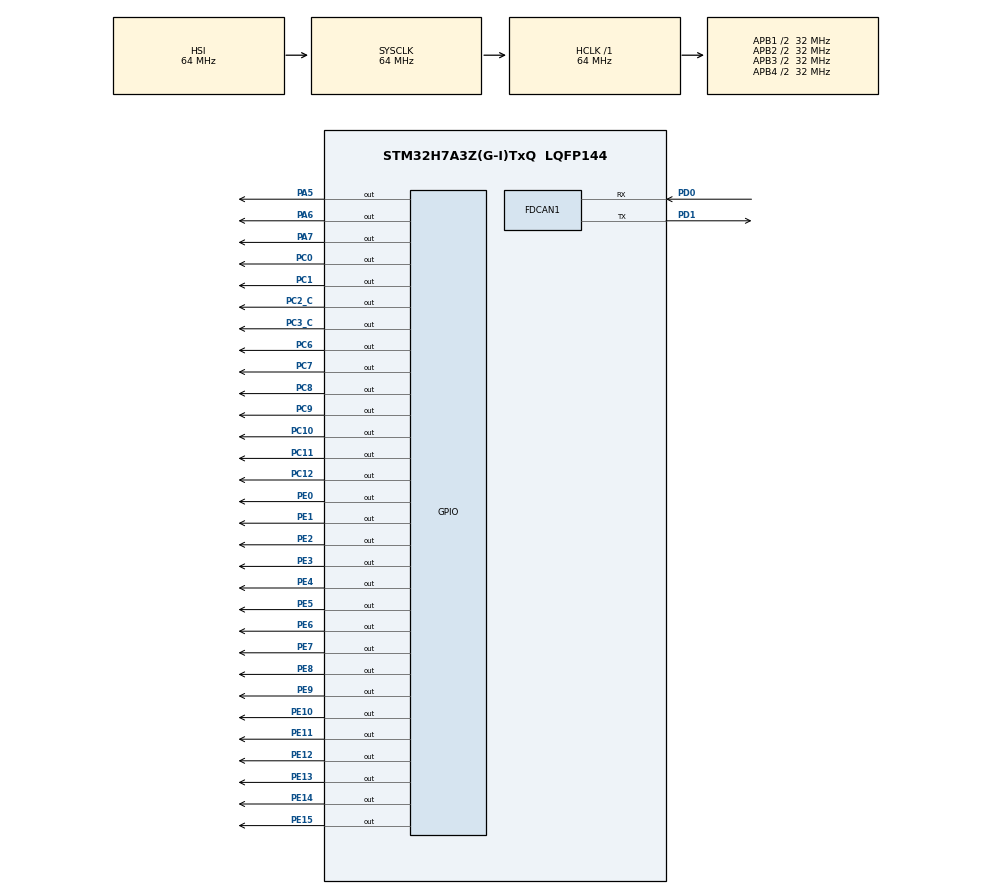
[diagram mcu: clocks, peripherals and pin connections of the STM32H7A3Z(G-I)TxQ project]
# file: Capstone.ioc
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FDCAN1.AutoRetransmission=ENABLE
FDCAN1.DataSyncJumpWidth=4
FDCAN1.DataTimeSeg1=5
FDCAN1.DataTimeSeg2=4
FDCAN1.FrameFormat=FDCAN_FRAME_FD_NO_BRS
FDCAN1.NominalTimeSeg1=5
FDCAN1.RxBuffersNbr=1
FDCAN1.RxFifo0ElmtsNbr=1
FDCAN1.StdFiltersNbr=1
FREERTOS.Tasks01=defaultTask,24,128,StartDefaultTask,Default,NULL,Dynamic,NULL,NULL;myTask02,8,128,StartTask02,Default,NULL,Dynamic,NULL,NULL;myTask03,8,128,StartTask03,Default,NULL,Dynamic,NULL,NULL
FREERTOS.configTOTAL_HEAP_SIZE=153600
FREERTOS.configUSE_NEWLIB_REENTRANT=1
Mcu.Family=STM32H7
Mcu.Name=STM32H7A3Z(G-I)TxQ
Mcu.Package=LQFP144
NVIC.PriorityGroup=NVIC_PRIORITYGROUP_4
NVIC.TIM4_IRQn=true\:15\:0\:false\:false\:true\:false\:false\:true
NVIC.TimeBase=TIM4_IRQn
NVIC.TimeBaseIP=TIM4
PA5.Signal=GPIO_Output
PA6.Signal=GPIO_Output
PA7.Signal=GPIO_Output
PC0.Signal=GPIO_Output
PC1.Signal=GPIO_Output
PC10.Signal=GPIO_Output
PC11.Signal=GPIO_Output
PC12.Signal=GPIO_Output
PC2_C.Signal=GPIO_Output
PC3_C.Signal=GPIO_Output
PC6.Signal=GPIO_Output
PC7.Signal=GPIO_Output
PC8.Signal=GPIO_Output
PC9.Signal=GPIO_Output
PD0.Mode=FDCAN_Activate
PD0.Signal=FDCAN1_RX
PD1.Mode=FDCAN_Activate
PD1.Signal=FDCAN1_TX
PE0.Signal=GPIO_Output
PE1.Signal=GPIO_Output
PE10.Signal=GPIO_Output
PE11.Signal=GPIO_Output
PE12.Signal=GPIO_Output
PE13.Signal=GPIO_Output
PE14.Signal=GPIO_Output
PE15.Signal=GPIO_Output
PE2.Signal=GPIO_Output
PE3.Signal=GPIO_Output
PE4.Signal=GPIO_Output
PE5.Signal=GPIO_Output
PE6.Signal=GPIO_Output
PE7.Signal=GPIO_Output
PE8.Signal=GPIO_Output
PE9.Signal=GPIO_Output
PH0-OSC_IN.Mode=HSE-External-Oscillator
PH0-OSC_IN.Signal=RCC_OSC_IN
PH1-OSC_OUT.Mode=HSE-External-Oscillator
PH1-OSC_OUT.Signal=RCC_OSC_OUT
ProjectManager.HeapSize=0x200
ProjectManager.StackSize=0x400
ProjectManager.TargetToolchain=STM32CubeIDE
RCC.ADCFreq_Value=129000000
RCC.APB1Freq_Value=32000000
RCC.APB2Freq_Value=32000000
RCC.APB3Freq_Value=32000000
RCC.APB4Freq_Value=32000000
RCC.CDPPRE=RCC_APB3_DIV2
RCC.CDPPRE1=RCC_APB1_DIV2
RCC.CDPPRE2=RCC_APB2_DIV2
RCC.CortexFreq_Value=64000000
RCC.DIVM1=4
RCC.DIVN1=8
RCC.DIVQ1=32
RCC.HCLKFreq_Value=64000000
RCC.PLLFRACN=0
RCC.SRDPPRE=RCC_APB4_DIV2
RCC.SYSCLKFreq_VALUE=64000000
RCC.USBFreq_Value=4000000
VP_FREERTOS_VS_CMSIS_V2.Mode=CMSIS_V2
VP_SYS_VS_tim4.Mode=TIM4
board=custom

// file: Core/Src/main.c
/* USER CODE BEGIN Header */
/**
  ******************************************************************************
  * @file           : main.c
  * @brief          : Main program body
  ******************************************************************************
  * @attention
  *
  * Copyright (c) 2023 STMicroelectronics.
  * All rights reserved.
  *
  * This software is licensed under terms that can be found in the LICENSE file
  * in the root directory of this software component.
  * If no LICENSE file comes with this software, it is provided AS-IS.
  *
  ******************************************************************************
  */
/* USER CODE END Header */
#include "main.h"
#include "cmsis_os.h"
#include "fdcan.h"
#include "gpio.h"

/* USER CODE BEGIN Includes */
#include "_7_seg.h"
#include <stdio.h>
/* USER CODE END Includes */

/* USER CODE BEGIN PV */
FDCAN_FilterTypeDef sFilterConfig;
/* USER CODE END PV */

void SystemClock_Config(void);
void MX_FREERTOS_Init(void);

/* USER CODE BEGIN 0 */
// FDCAN1 Defines
FDCAN_TxHeaderTypeDef   TxHeader1;
FDCAN_RxHeaderTypeDef   RxHeader1;

uint8_t TxData_Node2_To_Node3[8];
uint8_t RxData_From_Node3[8];

// FDCAN1 Callback
void HAL_FDCAN_RxFifo0Callback(FDCAN_HandleTypeDef *hfdcan, uint32_t RxFifo0ITs)
{
  if((RxFifo0ITs & FDCAN_IT_RX_FIFO0_NEW_MESSAGE) != RESET)
  {
    /* Retreive Rx messages from RX FIFO0 */
    if (HAL_FDCAN_GetRxMessage(hfdcan, FDCAN_RX_FIFO0, &RxHeader1, RxData_From_Node3) != HAL_OK)
    {
    /* Reception Error */
    Error_Handler();
    }

    if (HAL_FDCAN_ActivateNotification(hfdcan, FDCAN_IT_RX_FIFO0_NEW_MESSAGE, 0) != HAL_OK)
    {
      /* Notification Error */
      Error_Handler();
    }
  }
}
/* USER CODE END 0 */

int main(void)
{

  /* MCU Configuration--------------------------------------------------------*/

  /* Reset of all peripherals, Initializes the Flash interface and the Systick. */
  HAL_Init();

  /* Configure the system clock */
  SystemClock_Config();

  /* Initialize all configured peripherals */
  MX_GPIO_Init();
  MX_FDCAN1_Init();
  /* USER CODE BEGIN 2 */

  // STart FDCAN1
    if(HAL_FDCAN_Start(&hfdcan1)!= HAL_OK)
    {
     Error_Handler();
    }

    // STart FDCAN2

    // Activate the notification for new data in FIFO0 for FDCAN1
    if (HAL_FDCAN_ActivateNotification(&hfdcan1, FDCAN_IT_RX_FIFO0_NEW_MESSAGE, 0) != HAL_OK)
    {
      /* Notification Error */
      Error_Handler();
    }

    // Configure TX Header for FDCAN1
    TxHeader1.Identifier = 0x22;
    TxHeader1.IdType = FDCAN_STANDARD_ID;
    TxHeader1.TxFrameType = FDCAN_DATA_FRAME;
    TxHeader1.DataLength = FDCAN_DLC_BYTES_8;
    TxHeader1.ErrorStateIndicator = FDCAN_ESI_ACTIVE;
    TxHeader1.BitRateSwitch = FDCAN_BRS_OFF;
    TxHeader1.FDFormat = FDCAN_FD_CAN;
    TxHeader1.TxEventFifoControl = FDCAN_NO_TX_EVENTS;
    TxHeader1.MessageMarker = 0;
  /* USER CODE END 2 */

  /* Init scheduler */
  osKernelInitialize();  /* Call init function for freertos objects (in freertos.c) */
  MX_FREERTOS_Init();
  /* Start scheduler */
  osKernelStart();

  /* We should never get here as control is now taken by the scheduler */
  /* Infinite loop */
  while (1)
  {

  }
}

void SystemClock_Config(void)
{
  RCC_OscInitTypeDef RCC_OscInitStruct = {0};
  RCC_ClkInitTypeDef RCC_ClkInitStruct = {0};

  /** Supply configuration update enable
  */
  HAL_PWREx_ConfigSupply(PWR_DIRECT_SMPS_SUPPLY);
  /** Configure the main internal regulator output voltage
  */
  __HAL_PWR_VOLTAGESCALING_CONFIG(PWR_REGULATOR_VOLTAGE_SCALE3);

  while(!__HAL_PWR_GET_FLAG(PWR_FLAG_VOSRDY)) {}
  /** Initializes the RCC Oscillators according to the specified parameters
  * in the RCC_OscInitTypeDef structure.
  */
  RCC_OscInitStruct.OscillatorType = RCC_OSCILLATORTYPE_HSI;
  RCC_OscInitStruct.HSIState = RCC_HSI_DIV1;
  RCC_OscInitStruct.HSICalibrationValue = RCC_HSICALIBRATION_DEFAULT;
  RCC_OscInitStruct.PLL.PLLState = RCC_PLL_ON;
  RCC_OscInitStruct.PLL.PLLSource = RCC_PLLSOURCE_HSI;
  RCC_OscInitStruct.PLL.PLLM = 4;
  RCC_OscInitStruct.PLL.PLLN = 8;
  RCC_OscInitStruct.PLL.PLLP = 2;
  RCC_OscInitStruct.PLL.PLLQ = 32;
  RCC_OscInitStruct.PLL.PLLR = 2;
  RCC_OscInitStruct.PLL.PLLRGE = RCC_PLL1VCIRANGE_3;
  RCC_OscInitStruct.PLL.PLLVCOSEL = RCC_PLL1VCOWIDE;
  RCC_OscInitStruct.PLL.PLLFRACN = 0;
  if (HAL_RCC_OscConfig(&RCC_OscInitStruct) != HAL_OK)
  {
    Error_Handler();
  }
  /** Initializes the CPU, AHB and APB buses clocks
  */
  RCC_ClkInitStruct.ClockType = RCC_CLOCKTYPE_HCLK|RCC_CLOCKTYPE_SYSCLK
                              |RCC_CLOCKTYPE_PCLK1|RCC_CLOCKTYPE_PCLK2
                              |RCC_CLOCKTYPE_D3PCLK1|RCC_CLOCKTYPE_D1PCLK1;
  RCC_ClkInitStruct.SYSCLKSource = RCC_SYSCLKSOURCE_HSI;
  RCC_ClkInitStruct.SYSCLKDivider = RCC_SYSCLK_DIV1;
  RCC_ClkInitStruct.AHBCLKDivider = RCC_HCLK_DIV1;
  RCC_ClkInitStruct.APB3CLKDivider = RCC_APB3_DIV2;
  RCC_ClkInitStruct.APB1CLKDivider = RCC_APB1_DIV2;
  RCC_ClkInitStruct.APB2CLKDivider = RCC_APB2_DIV2;
  RCC_ClkInitStruct.APB4CLKDivider = RCC_APB4_DIV2;

  if (HAL_RCC_ClockConfig(&RCC_ClkInitStruct, FLASH_LATENCY_2) != HAL_OK)
  {
    Error_Handler();
  }
}

void HAL_TIM_PeriodElapsedCallback(TIM_HandleTypeDef *htim)
{
  if (htim->Instance == TIM4) {
    HAL_IncTick();
  }
}

void Error_Handler(void)
{
  __disable_irq();
  while (1)
  {
  }
}

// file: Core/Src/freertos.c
/* USER CODE BEGIN Header */
/**
  ******************************************************************************
  * File Name          : freertos.c
  * Description        : Code for freertos applications
  ******************************************************************************
  * @attention
  *
  * Copyright (c) 2023 STMicroelectronics.
  * All rights reserved.
  *
  * This software is licensed under terms that can be found in the LICENSE file
  * in the root directory of this software component.
  * If no LICENSE file comes with this software, it is provided AS-IS.
  *
  ******************************************************************************
  */
/* USER CODE END Header */

#include "FreeRTOS.h"
#include "task.h"
#include "main.h"
#include "cmsis_os.h"

/* USER CODE BEGIN Includes */
#include "_7_seg.h"
#include <stdio.h>
#include "fdcan.h"
/* USER CODE END Includes */

/* USER CODE BEGIN PD */
//FDCAN_TxHeaderTypeDef   TxHeader1;
//FDCAN_RxHeaderTypeDef   RxHeader1;
//
//uint8_t TxData_Node2_To_Node3[8];
//uint8_t RxData_From_Node3[8];
/* USER CODE END PD */

/* Definitions for defaultTask */
osThreadId_t defaultTaskHandle;
const osThreadAttr_t defaultTask_attributes = {
  .name = "defaultTask",
  .stack_size = 128 * 4,
  .priority = (osPriority_t) osPriorityNormal,
};
/* Definitions for myTask02 */
osThreadId_t myTask02Handle;
const osThreadAttr_t myTask02_attributes = {
  .name = "myTask02",
  .stack_size = 128 * 4,
  .priority = (osPriority_t) osPriorityLow,
};
/* Definitions for myTask03 */
osThreadId_t myTask03Handle;
const osThreadAttr_t myTask03_attributes = {
  .name = "myTask03",
  .stack_size = 128 * 4,
  .priority = (osPriority_t) osPriorityLow,
};

void StartDefaultTask(void *argument);
void StartTask02(void *argument);
void StartTask03(void *argument);

void MX_FREERTOS_Init(void); /* (MISRA C 2004 rule 8.1) */

void MX_FREERTOS_Init(void) {

  /* Create the thread(s) */
  /* creation of defaultTask */
  defaultTaskHandle = osThreadNew(StartDefaultTask, NULL, &defaultTask_attributes);

  /* creation of myTask02 */
  myTask02Handle = osThreadNew(StartTask02, NULL, &myTask02_attributes);

  /* creation of myTask03 */
  myTask03Handle = osThreadNew(StartTask03, NULL, &myTask03_attributes);

}

void StartDefaultTask(void *argument)
{
  for(;;)
  {
    osDelay(1);
  }
}

void StartTask02(void *argument)
{
  /* USER CODE BEGIN StartTask02 */
  /* Infinite loop */
  for(;;)
  {
	  if(HAL_GPIO_ReadPin(GPIOA, GPIO_PIN_6)==1)
	  {
		  if(HAL_GPIO_ReadPin(GPIOA, GPIO_PIN_5)==1)
		  	  	  	  {
			  	  	  	  Dot_right();
		  	  	  	  }
		  if(HAL_GPIO_ReadPin(GPIOA, GPIO_PIN_5)==0)
		  	  	  	  {
		  	  	  		  Dot_left();

		  	  	  	  }
	  }
	  if(HAL_GPIO_ReadPin(GPIOA, GPIO_PIN_6)==0)
	  {
		  if(HAL_GPIO_ReadPin(GPIOA, GPIO_PIN_7)==1)
		  		  	  	  		  {
		  		  	  	  			  Dot_bisang();
		  		  	  	  		  }
		  if(HAL_GPIO_ReadPin(GPIOA, GPIO_PIN_7)==0)
		  		  		  	  	  		  {

		  		  		  	  	  		  }
	  }
//	  if(HAL_GPIO_ReadPin(GPIOA, GPIO_PIN_7)==1)
//	  {
//		  HAL_GPIO_TogglePin(GPIOE, GPIO_PIN_1);
//			  osDelay(200);
//	  }
  }
  /* USER CODE END StartTask02 */
}

void StartTask03(void *argument)
{
  /* USER CODE BEGIN StartTask03 */
  /* Infinite loop */
  for(;;)
  {
	  PowerOn_7_SEG_L1();
	 	  	_7_SEG_Num_Test2(1);
	 	  	HAL_Delay(0);
	 	  	PowerOff_7_SEG_L1();
	 	  	PowerOn_7_SEG_L2();
	 	  	_7_SEG_Num_Test2(2);
	 	  	HAL_Delay(0);
	 	  	PowerOff_7_SEG_L2();
	 	  	PowerOn_7_SEG_L3();
	 	  	_7_SEG_Num_Test2(3);
	 	  	HAL_Delay(0);
	 	  	PowerOff_7_SEG_L3();
	 	  	PowerOn_7_SEG_L4();
	 	  	_7_SEG_Num_Test2(2);
	 	  	HAL_Delay(0);
	 	  	PowerOff_7_SEG_L4();
  }
  /* USER CODE END StartTask03 */
}
